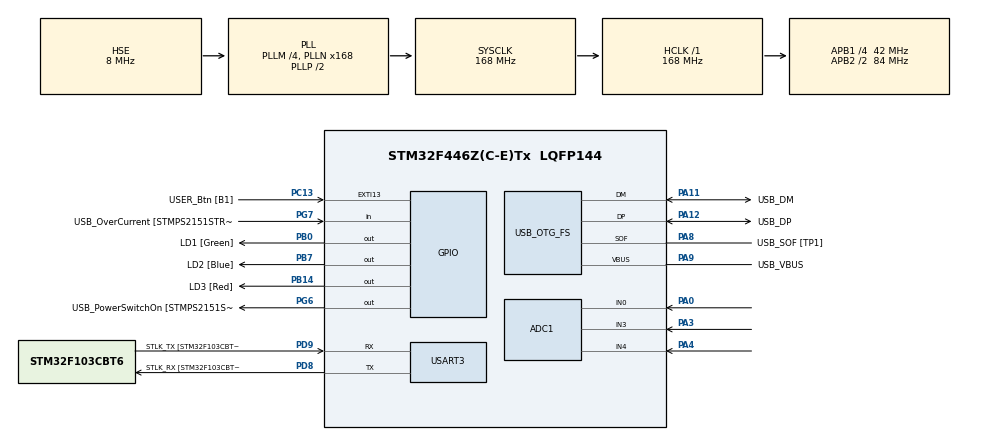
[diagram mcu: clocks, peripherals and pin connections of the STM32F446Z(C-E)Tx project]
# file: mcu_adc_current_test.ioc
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ADC1.Channel-0\#ChannelRegularConversion=ADC_CHANNEL_3
ADC1.ContinuousConvMode=ENABLE
ADC1.DMAContinuousRequests=ENABLE
ADC1.EOCSelection=ADC_EOC_SEQ_CONV
ADC1.NbrOfConversion=1
ADC1.NbrOfConversionFlag=1
ADC1.Rank-0\#ChannelRegularConversion=1
ADC1.SamplingTime-0\#ChannelRegularConversion=ADC_SAMPLETIME_144CYCLES
ADC1.master=1
Dma.ADC1.0.Direction=DMA_PERIPH_TO_MEMORY
Dma.ADC1.0.FIFOMode=DMA_FIFOMODE_DISABLE
Dma.ADC1.0.Instance=DMA2_Stream0
Dma.ADC1.0.MemDataAlignment=DMA_MDATAALIGN_HALFWORD
Dma.ADC1.0.MemInc=DMA_MINC_ENABLE
Dma.ADC1.0.Mode=DMA_CIRCULAR
Dma.ADC1.0.PeriphDataAlignment=DMA_PDATAALIGN_HALFWORD
Dma.ADC1.0.PeriphInc=DMA_PINC_DISABLE
Dma.ADC1.0.Priority=DMA_PRIORITY_LOW
Dma.Request0=ADC1
Mcu.Family=STM32F4
Mcu.Name=STM32F446Z(C-E)Tx
Mcu.Package=LQFP144
NVIC.DMA2_Stream0_IRQn=true\:0\:0\:false\:false\:true\:false\:true\:true
NVIC.PriorityGroup=NVIC_PRIORITYGROUP_4
PA0-WKUP.Signal=ADCx_IN0
PA10.GPIO_Label=USB_ID
PA10.Signal=USB_OTG_FS_ID
PA11.GPIO_Label=USB_DM
PA11.Mode=Device_Only
PA11.Signal=USB_OTG_FS_DM
PA12.GPIO_Label=USB_DP
PA12.Mode=Device_Only
PA12.Signal=USB_OTG_FS_DP
PA13.GPIO_Label=TMS
PA13.Mode=Serial_Wire
PA13.Signal=SYS_JTMS-SWDIO
PA14.GPIO_Label=TCK
PA14.Mode=Serial_Wire
PA14.Signal=SYS_JTCK-SWCLK
PA3.Signal=ADCx_IN3
PA4.Signal=ADCx_IN4
PA8.GPIO_Label=USB_SOF [TP1]
PA8.Mode=Activate_SOF_FS
PA8.Signal=USB_OTG_FS_SOF
PA9.GPIO_Label=USB_VBUS
PA9.Mode=Activate_VBUS
PA9.Signal=USB_OTG_FS_VBUS
PB0.GPIO_Label=LD1 [Green]
PB0.Signal=GPIO_Output
PB14.GPIO_Label=LD3 [Red]
PB14.Signal=GPIO_Output
PB7.GPIO_Label=LD2 [Blue]
PB7.Signal=GPIO_Output
PC13.GPIO_Label=USER_Btn [B1]
PC13.Signal=GPXTI13
PC14-OSC32_IN.Mode=LSE-External-Oscillator
PC14-OSC32_IN.Signal=RCC_OSC32_IN
PC15-OSC32_OUT.Mode=LSE-External-Oscillator
PC15-OSC32_OUT.Signal=RCC_OSC32_OUT
PD8.GPIO_Label=STLK_RX [STM32F103CBT6_PA3]
PD8.Mode=Asynchronous
PD8.Signal=USART3_TX
PD9.GPIO_Label=STLK_TX [STM32F103CBT6_PA2]
PD9.Mode=Asynchronous
PD9.Signal=USART3_RX
PG6.GPIO_Label=USB_PowerSwitchOn [STMPS2151STR_EN]
PG6.Signal=GPIO_Output
PG7.GPIO_Label=USB_OverCurrent [STMPS2151STR_FAULT]
PG7.Signal=GPIO_Input
PH0-OSC_IN.GPIO_Label=MCO [STM32F103CBT6_PA8]
PH0-OSC_IN.Mode=HSE-External-Clock-Source
PH0-OSC_IN.Signal=RCC_OSC_IN
PH1-OSC_OUT.Mode=HSE-External-Clock-Source
PH1-OSC_OUT.Signal=RCC_OSC_OUT
ProjectManager.HeapSize=0x200
ProjectManager.StackSize=0x400
ProjectManager.TargetToolchain=STM32CubeIDE
RCC.48MHZClocksFreq_Value=24000000
RCC.AHBFreq_Value=168000000
RCC.APB1CLKDivider=RCC_HCLK_DIV4
RCC.APB1Freq_Value=42000000
RCC.APB1TimFreq_Value=84000000
RCC.APB2CLKDivider=RCC_HCLK_DIV2
RCC.APB2Freq_Value=84000000
RCC.APB2TimFreq_Value=168000000
RCC.CortexFreq_Value=168000000
RCC.HCLKFreq_Value=168000000
RCC.HSE_VALUE=8000000
RCC.HSI_VALUE=16000000
RCC.PLLM=4
RCC.PLLMUL=RCC_PLL_MUL9
RCC.PLLN=168
RCC.PLLQ=7
RCC.PRESCALERUSB=RCC_USBCLKSOURCE_PLL_DIV1_5
RCC.SYSCLKFreq_VALUE=168000000
RCC.SYSCLKSource=RCC_SYSCLKSOURCE_PLLCLK
RCC.SYSCLKSourceVirtual=RCC_SYSCLKSOURCE_PLLCLK
RCC.USBFreq_Value=48000000
RCC.VCOOutputFreq_Value=336000000
SH.ADCx_IN0.0=ADC1_IN0,IN0
SH.ADCx_IN3.0=ADC1_IN3,IN3
SH.ADCx_IN4.0=ADC1_IN4,IN4
USART3.VirtualMode=VM_ASYNC
USB_OTG_FS.VirtualMode=Device_Only
board=NUCLEO-F446ZE

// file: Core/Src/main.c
/* USER CODE BEGIN Header */
/**
  ******************************************************************************
  * @file           : main.c
  * @brief          : Main program body
  ******************************************************************************
  * @attention
  *
  * Copyright (c) 2025 STMicroelectronics.
  * All rights reserved.
  *
  * This software is licensed under terms that can be found in the LICENSE file
  * in the root directory of this software component.
  * If no LICENSE file comes with this software, it is provided AS-IS.
  *
  ******************************************************************************
  */
/* USER CODE END Header */
#include "main.h"

/* USER CODE BEGIN Includes */
#include <stdio.h>
#include <string.h>

/* USER CODE END Includes */

ADC_HandleTypeDef hadc1;
DMA_HandleTypeDef hdma_adc1;

UART_HandleTypeDef huart3;

PCD_HandleTypeDef hpcd_USB_OTG_FS;

/* USER CODE BEGIN PV */
uint16_t adc_buf[1];

volatile uint8_t  adc_ready = 0;
char msg[128];

/*
 * FOR CURRENT MONITORING
volatile uint16_t adc_buf[2];   // DMA buffer: 2 channels

*/

// for DMA testing

//volatile uint32_t dma_hits = 0;

/* USER CODE END PV */

void SystemClock_Config(void);
static void MX_GPIO_Init(void);
static void MX_DMA_Init(void);
static void MX_USART3_UART_Init(void);
static void MX_USB_OTG_FS_PCD_Init(void);
static void MX_ADC1_Init(void);

int main(void)
{

  /* MCU Configuration--------------------------------------------------------*/

  /* Reset of all peripherals, Initializes the Flash interface and the Systick. */
  HAL_Init();

  /* Configure the system clock */
  SystemClock_Config();

  /* Initialize all configured peripherals */
  MX_GPIO_Init();
  MX_DMA_Init();
  MX_USART3_UART_Init();
  MX_USB_OTG_FS_PCD_Init();
  MX_ADC1_Init();
  /* USER CODE BEGIN 2 */
  // Make absolutely sure ADC + DMA are stopped
  HAL_ADC_Stop_DMA(&hadc1);
  HAL_ADC_Stop(&hadc1);
  __HAL_ADC_DISABLE(&hadc1);                 // force disable
  __HAL_ADC_CLEAR_FLAG(&hadc1, ADC_FLAG_EOC | ADC_FLAG_OVR);

  // (Optional but very effective) fully re-init the ADC handle
  HAL_ADC_DeInit(&hadc1);
  MX_ADC1_Init();

  // Now start DMA ONCE
  HAL_StatusTypeDef st = HAL_ADC_Start_DMA(&hadc1, (uint32_t*)adc_buf, 1); // changed to 1 instead of 2, change back to 2 when adding another rank

  char e[96];
  int n = snprintf(e, sizeof(e),"StartDMA st=%d err=0x%lx state=0x%lx\r\n", (int)st, hadc1.ErrorCode, hadc1.State);

  HAL_UART_Transmit(&huart3, (uint8_t*)e, (uint16_t)n, 100);

  HAL_UART_Transmit(&huart3, (uint8_t*)e, n, HAL_MAX_DELAY);

  HAL_UART_Transmit(&huart3, (uint8_t*)"ADC test start\r\n", 16, HAL_MAX_DELAY);

  /* USER CODE END 2 */

  /* Infinite loop */
  while (1)
  {

    /* USER CODE BEGIN 3 */

	        if (adc_ready)
	        {
	            adc_ready = 0;

	            uint32_t vout_mV = (adc_buf[0] * 3300UL) / 4095UL;
	            uint32_t current_mA = vout_mV / 15UL;

	            int n = snprintf(msg, sizeof(msg), "raw=%u | Vout=%lu mV | I=%lu mA\r\n", adc_buf[0], vout_mV, current_mA);
	            HAL_UART_Transmit(&huart3, (uint8_t*)msg, (uint16_t)n, HAL_MAX_DELAY);
// FOR CURRENT

//FOR VOLTAGE:
	            //ONE CHANNEL
	            // Vadc in millivolts
	               // uint32_t vadc_mV = (adc_buf[0] * 3300UL) / 4095UL;

	                // Vin = Vadc * (55 / 33) ;
	               // uint32_t vin_mV = (vadc_mV * 55UL) / 33UL;

	               // int n = snprintf(msg, sizeof(msg), "raw=%u | Vadc=%lu mV | Vin=%lu mV\r\n",adc_buf[0], vadc_mV,vin_mV);

	              //  HAL_UART_Transmit(&huart3, (uint8_t*)msg, (uint16_t)n, HAL_MAX_DELAY);

	            //FOR VOLTAGE TWO CHANNELS
	                /*uint32_t vadc1_mV = (adc_buf[0] * 3300UL) / 4095UL;
	                uint32_t vin1_mV  = (vadc1_mV * 55UL) / 33UL;

	                uint32_t vadc2_mV = (adc_buf[1] * 3300UL) / 4095UL;
	                uint32_t vin2_mV  = (vadc2_mV * 55UL) / 33UL;

	                int n = snprintf(msg, sizeof(msg),
	                    "raw1=%u Vadc1=%lu Vin1=%lu | raw2=%u Vadc2=%lu Vin2=%lu\r\n",
	                    adc_buf[0], vadc1_mV, vin1_mV,
	                    adc_buf[1], vadc2_mV, vin2_mV);

	                HAL_UART_Transmit(&huart3, (uint8_t*)msg, (uint16_t)n, HAL_MAX_DELAY);*/
	            }

	            HAL_Delay(200); // ~5 Hz

  }

  /* USER CODE END 3 */
}

void SystemClock_Config(void)
{
  RCC_OscInitTypeDef RCC_OscInitStruct = {0};
  RCC_ClkInitTypeDef RCC_ClkInitStruct = {0};

  /** Configure the main internal regulator output voltage
  */
  __HAL_RCC_PWR_CLK_ENABLE();
  __HAL_PWR_VOLTAGESCALING_CONFIG(PWR_REGULATOR_VOLTAGE_SCALE1);

  /** Initializes the RCC Oscillators according to the specified parameters
  * in the RCC_OscInitTypeDef structure.
  */
  RCC_OscInitStruct.OscillatorType = RCC_OSCILLATORTYPE_HSE;
  RCC_OscInitStruct.HSEState = RCC_HSE_BYPASS;
  RCC_OscInitStruct.PLL.PLLState = RCC_PLL_ON;
  RCC_OscInitStruct.PLL.PLLSource = RCC_PLLSOURCE_HSE;
  RCC_OscInitStruct.PLL.PLLM = 4;
  RCC_OscInitStruct.PLL.PLLN = 168;
  RCC_OscInitStruct.PLL.PLLP = RCC_PLLP_DIV2;
  RCC_OscInitStruct.PLL.PLLQ = 7;
  RCC_OscInitStruct.PLL.PLLR = 2;
  if (HAL_RCC_OscConfig(&RCC_OscInitStruct) != HAL_OK)
  {
    Error_Handler();
  }

  /** Initializes the CPU, AHB and APB buses clocks
  */
  RCC_ClkInitStruct.ClockType = RCC_CLOCKTYPE_HCLK|RCC_CLOCKTYPE_SYSCLK
                              |RCC_CLOCKTYPE_PCLK1|RCC_CLOCKTYPE_PCLK2;
  RCC_ClkInitStruct.SYSCLKSource = RCC_SYSCLKSOURCE_PLLCLK;
  RCC_ClkInitStruct.AHBCLKDivider = RCC_SYSCLK_DIV1;
  RCC_ClkInitStruct.APB1CLKDivider = RCC_HCLK_DIV4;
  RCC_ClkInitStruct.APB2CLKDivider = RCC_HCLK_DIV2;

  if (HAL_RCC_ClockConfig(&RCC_ClkInitStruct, FLASH_LATENCY_5) != HAL_OK)
  {
    Error_Handler();
  }
}

static void MX_ADC1_Init(void)
{

  ADC_ChannelConfTypeDef sConfig = {0};

  /** Configure the global features of the ADC (Clock, Resolution, Data Alignment and number of conversion)
  */
  hadc1.Instance = ADC1;
  hadc1.Init.ClockPrescaler = ADC_CLOCK_SYNC_PCLK_DIV4;
  hadc1.Init.Resolution = ADC_RESOLUTION_12B;
  hadc1.Init.ScanConvMode = DISABLE;
  hadc1.Init.ContinuousConvMode = ENABLE;
  hadc1.Init.DiscontinuousConvMode = DISABLE;
  hadc1.Init.ExternalTrigConvEdge = ADC_EXTERNALTRIGCONVEDGE_NONE;
  hadc1.Init.ExternalTrigConv = ADC_SOFTWARE_START;
  hadc1.Init.DataAlign = ADC_DATAALIGN_RIGHT;
  hadc1.Init.NbrOfConversion = 1;
  hadc1.Init.DMAContinuousRequests = ENABLE;
  hadc1.Init.EOCSelection = ADC_EOC_SEQ_CONV;
  if (HAL_ADC_Init(&hadc1) != HAL_OK)
  {
    Error_Handler();
  }

  /** Configure for the selected ADC regular channel its corresponding rank in the sequencer and its sample time.
  */
  sConfig.Channel = ADC_CHANNEL_0;
  sConfig.Rank = 1;
  sConfig.SamplingTime = ADC_SAMPLETIME_144CYCLES;
  if (HAL_ADC_ConfigChannel(&hadc1, &sConfig) != HAL_OK)
  {
    Error_Handler();
  }

}

static void MX_USART3_UART_Init(void)
{

  huart3.Instance = USART3;
  huart3.Init.BaudRate = 115200;
  huart3.Init.WordLength = UART_WORDLENGTH_8B;
  huart3.Init.StopBits = UART_STOPBITS_1;
  huart3.Init.Parity = UART_PARITY_NONE;
  huart3.Init.Mode = UART_MODE_TX_RX;
  huart3.Init.HwFlowCtl = UART_HWCONTROL_NONE;
  huart3.Init.OverSampling = UART_OVERSAMPLING_16;
  if (HAL_UART_Init(&huart3) != HAL_OK)
  {
    Error_Handler();
  }

}

static void MX_USB_OTG_FS_PCD_Init(void)
{

  hpcd_USB_OTG_FS.Instance = USB_OTG_FS;
  hpcd_USB_OTG_FS.Init.dev_endpoints = 6;
  hpcd_USB_OTG_FS.Init.speed = PCD_SPEED_FULL;
  hpcd_USB_OTG_FS.Init.dma_enable = DISABLE;
  hpcd_USB_OTG_FS.Init.phy_itface = PCD_PHY_EMBEDDED;
  hpcd_USB_OTG_FS.Init.Sof_enable = ENABLE;
  hpcd_USB_OTG_FS.Init.low_power_enable = DISABLE;
  hpcd_USB_OTG_FS.Init.lpm_enable = DISABLE;
  hpcd_USB_OTG_FS.Init.vbus_sensing_enable = ENABLE;
  hpcd_USB_OTG_FS.Init.use_dedicated_ep1 = DISABLE;
  if (HAL_PCD_Init(&hpcd_USB_OTG_FS) != HAL_OK)
  {
    Error_Handler();
  }

}

static void MX_DMA_Init(void)
{

  /* DMA controller clock enable */
  __HAL_RCC_DMA2_CLK_ENABLE();

  /* DMA interrupt init */
  /* DMA2_Stream0_IRQn interrupt configuration */
  HAL_NVIC_SetPriority(DMA2_Stream0_IRQn, 0, 0);
  HAL_NVIC_EnableIRQ(DMA2_Stream0_IRQn);

}

static void MX_GPIO_Init(void)
{
  GPIO_InitTypeDef GPIO_InitStruct = {0};

  /* GPIO Ports Clock Enable */
  __HAL_RCC_GPIOC_CLK_ENABLE();
  __HAL_RCC_GPIOH_CLK_ENABLE();
  __HAL_RCC_GPIOA_CLK_ENABLE();
  __HAL_RCC_GPIOB_CLK_ENABLE();
  __HAL_RCC_GPIOD_CLK_ENABLE();
  __HAL_RCC_GPIOG_CLK_ENABLE();

  /*Configure GPIO pin Output Level */
  HAL_GPIO_WritePin(GPIOB, LD1_Pin|LD3_Pin|LD2_Pin, GPIO_PIN_RESET);

  /*Configure GPIO pin Output Level */
  HAL_GPIO_WritePin(USB_PowerSwitchOn_GPIO_Port, USB_PowerSwitchOn_Pin, GPIO_PIN_RESET);

  /*Configure GPIO pin : USER_Btn_Pin */
  GPIO_InitStruct.Pin = USER_Btn_Pin;
  GPIO_InitStruct.Mode = GPIO_MODE_IT_RISING;
  GPIO_InitStruct.Pull = GPIO_NOPULL;
  HAL_GPIO_Init(USER_Btn_GPIO_Port, &GPIO_InitStruct);

  /*Configure GPIO pins : LD1_Pin LD3_Pin LD2_Pin */
  GPIO_InitStruct.Pin = LD1_Pin|LD3_Pin|LD2_Pin;
  GPIO_InitStruct.Mode = GPIO_MODE_OUTPUT_PP;
  GPIO_InitStruct.Pull = GPIO_NOPULL;
  GPIO_InitStruct.Speed = GPIO_SPEED_FREQ_LOW;
  HAL_GPIO_Init(GPIOB, &GPIO_InitStruct);

  /*Configure GPIO pin : USB_PowerSwitchOn_Pin */
  GPIO_InitStruct.Pin = USB_PowerSwitchOn_Pin;
  GPIO_InitStruct.Mode = GPIO_MODE_OUTPUT_PP;
  GPIO_InitStruct.Pull = GPIO_NOPULL;
  GPIO_InitStruct.Speed = GPIO_SPEED_FREQ_LOW;
  HAL_GPIO_Init(USB_PowerSwitchOn_GPIO_Port, &GPIO_InitStruct);

  /*Configure GPIO pin : USB_OverCurrent_Pin */
  GPIO_InitStruct.Pin = USB_OverCurrent_Pin;
  GPIO_InitStruct.Mode = GPIO_MODE_INPUT;
  GPIO_InitStruct.Pull = GPIO_NOPULL;
  HAL_GPIO_Init(USB_OverCurrent_GPIO_Port, &GPIO_InitStruct);

}

/* USER CODE BEGIN 4 */
void HAL_ADC_ConvCpltCallback(ADC_HandleTypeDef* hadc)
{
    if (hadc->Instance == ADC1)
    {
        adc_ready = 1;
    }
}

/* USER CODE END 4 */

void Error_Handler(void)
{
  __disable_irq();
  while (1)
  {
  }
}
